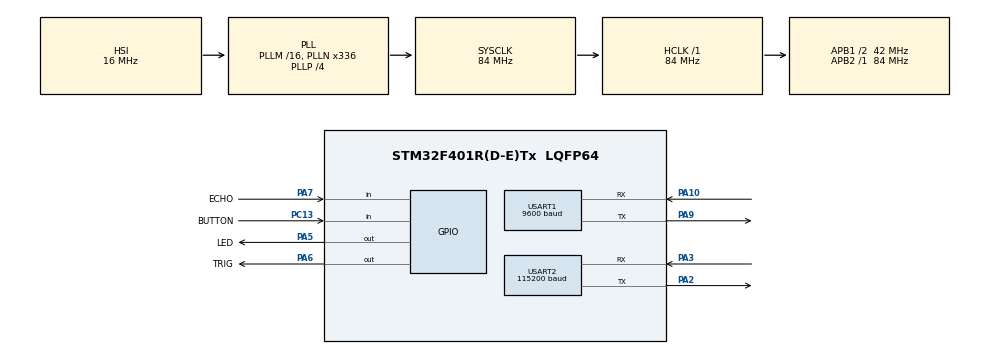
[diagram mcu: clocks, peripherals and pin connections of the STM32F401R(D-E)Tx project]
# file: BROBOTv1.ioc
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Dma.Request0=USART2_RX
Dma.Request1=USART1_RX
Dma.USART1_RX.1.Direction=DMA_PERIPH_TO_MEMORY
Dma.USART1_RX.1.FIFOMode=DMA_FIFOMODE_DISABLE
Dma.USART1_RX.1.Instance=DMA2_Stream2
Dma.USART1_RX.1.MemDataAlignment=DMA_MDATAALIGN_BYTE
Dma.USART1_RX.1.MemInc=DMA_MINC_ENABLE
Dma.USART1_RX.1.Mode=DMA_CIRCULAR
Dma.USART1_RX.1.PeriphDataAlignment=DMA_PDATAALIGN_BYTE
Dma.USART1_RX.1.PeriphInc=DMA_PINC_DISABLE
Dma.USART1_RX.1.Priority=DMA_PRIORITY_LOW
Dma.USART2_RX.0.Direction=DMA_PERIPH_TO_MEMORY
Dma.USART2_RX.0.FIFOMode=DMA_FIFOMODE_DISABLE
Dma.USART2_RX.0.Instance=DMA1_Stream5
Dma.USART2_RX.0.MemDataAlignment=DMA_MDATAALIGN_BYTE
Dma.USART2_RX.0.MemInc=DMA_MINC_ENABLE
Dma.USART2_RX.0.Mode=DMA_CIRCULAR
Dma.USART2_RX.0.PeriphDataAlignment=DMA_PDATAALIGN_BYTE
Dma.USART2_RX.0.PeriphInc=DMA_PINC_DISABLE
Dma.USART2_RX.0.Priority=DMA_PRIORITY_LOW
Mcu.Family=STM32F4
Mcu.Name=STM32F401R(D-E)Tx
Mcu.Package=LQFP64
NVIC.DMA1_Stream5_IRQn=true\:0\:0\:false\:false\:true\:false
NVIC.DMA2_Stream2_IRQn=true\:0\:0\:false\:false\:true\:false
NVIC.PriorityGroup=NVIC_PRIORITYGROUP_0
NVIC.TIM2_IRQn=true\:0\:0\:false\:false\:true\:true
NVIC.USART1_IRQn=true\:0\:0\:false\:false\:true\:true
NVIC.USART2_IRQn=true\:0\:0\:false\:false\:true\:true
PA10.Mode=Asynchronous
PA10.Signal=USART1_RX
PA2.Mode=Asynchronous
PA2.Signal=USART2_TX
PA3.Mode=Asynchronous
PA3.Signal=USART2_RX
PA5.GPIO_Label=LED
PA5.Signal=GPIO_Output
PA6.GPIO_Label=TRIG
PA6.Signal=GPIO_Output
PA7.GPIO_Label=ECHO
PA7.Signal=GPIO_Input
PA9.Mode=Asynchronous
PA9.Signal=USART1_TX
PC13-ANTI_TAMP.GPIO_Label=BUTTON
PC13-ANTI_TAMP.Signal=GPIO_Input
ProjectManager.HeapSize=0x200
ProjectManager.StackSize=0x400
ProjectManager.TargetToolchain=SW4STM32
RCC.AHBFreq_Value=84000000
RCC.APB1CLKDivider=RCC_HCLK_DIV2
RCC.APB1Freq_Value=42000000
RCC.APB1TimFreq_Value=84000000
RCC.APB2Freq_Value=84000000
RCC.APB2TimFreq_Value=84000000
RCC.CortexFreq_Value=84000000
RCC.HCLKFreq_Value=84000000
RCC.HSE_VALUE=8000000
RCC.HSI_VALUE=16000000
RCC.LSE_VALUE=32768
RCC.PLLN=336
RCC.PLLP=RCC_PLLP_DIV4
RCC.PLLQ=7
RCC.SYSCLKFreq_VALUE=84000000
RCC.SYSCLKSource=RCC_SYSCLKSOURCE_PLLCLK
RCC.VCOOutputFreq_Value=336000000
TIM2.Period=2000
TIM2.Prescaler=42000
TIM2.TIM_MasterOutputTrigger=TIM_TRGO_UPDATE
TIM4.Prescaler=84-1
USART1.BaudRate=9600
USART1.VirtualMode=VM_ASYNC
USART2.BaudRate=115200
USART2.VirtualMode=VM_ASYNC
VP_TIM2_VS_ClockSourceINT.Mode=Internal
VP_TIM4_VS_ClockSourceINT.Mode=Internal
board=NUCLEO-F401RE

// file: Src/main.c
/**
  ******************************************************************************
  * @file           : main.c
  * @brief          : Main program body
  ******************************************************************************
  ** This notice applies to any and all portions of this file
  * that are not between comment pairs USER CODE BEGIN and
  * USER CODE END. Other portions of this file, whether
  * inserted by the user or by software development tools
  * are owned by their respective copyright owners.
  *
  * COPYRIGHT(c) 2020 STMicroelectronics
  *
  * Redistribution and use in source and binary forms, with or without modification,
  * are permitted provided that the following conditions are met:
  *   1. Redistributions of source code must retain the above copyright notice,
  *      this list of conditions and the following disclaimer.
  *   2. Redistributions in binary form must reproduce the above copyright notice,
  *      this list of conditions and the following disclaimer in the documentation
  *      and/or other materials provided with the distribution.
  *   3. Neither the name of STMicroelectronics nor the names of its contributors
  *      may be used to endorse or promote products derived from this software
  *      without specific prior written permission.
  *
  * THIS SOFTWARE IS PROVIDED BY THE COPYRIGHT HOLDERS AND CONTRIBUTORS "AS IS"
  * AND ANY EXPRESS OR IMPLIED WARRANTIES, INCLUDING, BUT NOT LIMITED TO, THE
  * IMPLIED WARRANTIES OF MERCHANTABILITY AND FITNESS FOR A PARTICULAR PURPOSE ARE
  * DISCLAIMED. IN NO EVENT SHALL THE COPYRIGHT HOLDER OR CONTRIBUTORS BE LIABLE
  * FOR ANY DIRECT, INDIRECT, INCIDENTAL, SPECIAL, EXEMPLARY, OR CONSEQUENTIAL
  * DAMAGES (INCLUDING, BUT NOT LIMITED TO, PROCUREMENT OF SUBSTITUTE GOODS OR
  * SERVICES; LOSS OF USE, DATA, OR PROFITS; OR BUSINESS INTERRUPTION) HOWEVER
  * CAUSED AND ON ANY THEORY OF LIABILITY, WHETHER IN CONTRACT, STRICT LIABILITY,
  * OR TORT (INCLUDING NEGLIGENCE OR OTHERWISE) ARISING IN ANY WAY OUT OF THE USE
  * OF THIS SOFTWARE, EVEN IF ADVISED OF THE POSSIBILITY OF SUCH DAMAGE.
  *
  ******************************************************************************
  */
#include "main.h"
#include "stm32f4xx_hal.h"

/* USER CODE BEGIN Includes */
#include <string.h>
#include <stdio.h>
/* USER CODE END Includes */

TIM_HandleTypeDef htim2;		//Instance Timer2, used for 500us interrupt
TIM_HandleTypeDef htim4;		//Instance Timer4, used to generate uSec delay

UART_HandleTypeDef huart1;	//Instance UART1 -> communication via BLE
UART_HandleTypeDef huart2;	//Instance UART2 -> communication console
DMA_HandleTypeDef hdma_usart1_rx;	//DMA USART1 ISR reception
DMA_HandleTypeDef hdma_usart2_rx;	//DMA USART2 ISR reception

/* USER CODE BEGIN PV */
/* Private variables ---------------------------------------------------------*/

/* USER CODE END PV */

void SystemClock_Config(void);
static void MX_GPIO_Init(void);
static void MX_DMA_Init(void);
static void MX_USART2_UART_Init(void);
static void MX_USART1_UART_Init(void);
static void MX_TIM4_Init(void);
static void MX_TIM2_Init(void);

/* USER CODE BEGIN PFP */
/* Private function prototypes -----------------------------------------------*/
void usDelay(uint32_t uSec);
void UltrasonicSensorHandling();
/* USER CODE END PFP */

/* USER CODE BEGIN 0 */
uint8_t  myTxData2[13] = "Hello World\r\n";		//Transmitted Data UART2
uint8_t myRxData2[11]; 							//Received Data UART2

uint8_t  myTxData1[13] = "Hello World\r\n"; 		//Transmitted Data UART1
uint8_t myRxData1[11]; 							//Received Data UART1

const float speedOfSound = 0.0343/2;				//Speed of sound in cm/usec
float distance;									//Distane mesured by Ultrasonic sensor in cm

char uartBuf[90];								//Buffer to transmit distance value to UART
/* USER CODE END 0 */

int main(void)
{

  /* MCU Configuration----------------------------------------------------------*/

  /* Reset of all peripherals, Initializes the Flash interface and the Systick. */
  HAL_Init();

  /* Configure the system clock */
  SystemClock_Config();

  /* Initialize all configured peripherals */
  MX_GPIO_Init();
  MX_DMA_Init();
  MX_USART2_UART_Init();
  MX_USART1_UART_Init();
  MX_TIM4_Init();
  MX_TIM2_Init();
  /* USER CODE BEGIN 2 */
  //HAL_UART_Receive_DMA(&huart2, myRxData, 11);

  HAL_TIM_Base_Start_IT(&htim2); 					//Init timer 2 interrupt
  HAL_UART_Receive_DMA(&huart1, myRxData1, 11); 		//Enable RX interrupt DMA UART1
  /* USER CODE END 2 */

  /* Infinite loop */
  while (1)
  {

  }

}

void SystemClock_Config(void)
{

  RCC_OscInitTypeDef RCC_OscInitStruct;
  RCC_ClkInitTypeDef RCC_ClkInitStruct;

    /**Configure the main internal regulator output voltage
    */
  __HAL_RCC_PWR_CLK_ENABLE();

  __HAL_PWR_VOLTAGESCALING_CONFIG(PWR_REGULATOR_VOLTAGE_SCALE2);

    /**Initializes the CPU, AHB and APB busses clocks
    */
  RCC_OscInitStruct.OscillatorType = RCC_OSCILLATORTYPE_HSI;
  RCC_OscInitStruct.HSIState = RCC_HSI_ON;
  RCC_OscInitStruct.HSICalibrationValue = 16;
  RCC_OscInitStruct.PLL.PLLState = RCC_PLL_ON;
  RCC_OscInitStruct.PLL.PLLSource = RCC_PLLSOURCE_HSI;
  RCC_OscInitStruct.PLL.PLLM = 16;
  RCC_OscInitStruct.PLL.PLLN = 336;
  RCC_OscInitStruct.PLL.PLLP = RCC_PLLP_DIV4;
  RCC_OscInitStruct.PLL.PLLQ = 7;
  if (HAL_RCC_OscConfig(&RCC_OscInitStruct) != HAL_OK)
  {
    _Error_Handler(__FILE__, __LINE__);
  }

    /**Initializes the CPU, AHB and APB busses clocks
    */
  RCC_ClkInitStruct.ClockType = RCC_CLOCKTYPE_HCLK|RCC_CLOCKTYPE_SYSCLK
                              |RCC_CLOCKTYPE_PCLK1|RCC_CLOCKTYPE_PCLK2;
  RCC_ClkInitStruct.SYSCLKSource = RCC_SYSCLKSOURCE_PLLCLK;
  RCC_ClkInitStruct.AHBCLKDivider = RCC_SYSCLK_DIV1;
  RCC_ClkInitStruct.APB1CLKDivider = RCC_HCLK_DIV2;
  RCC_ClkInitStruct.APB2CLKDivider = RCC_HCLK_DIV1;

  if (HAL_RCC_ClockConfig(&RCC_ClkInitStruct, FLASH_LATENCY_2) != HAL_OK)
  {
    _Error_Handler(__FILE__, __LINE__);
  }

    /**Configure the Systick interrupt time
    */
  HAL_SYSTICK_Config(HAL_RCC_GetHCLKFreq()/1000);

    /**Configure the Systick
    */
  HAL_SYSTICK_CLKSourceConfig(SYSTICK_CLKSOURCE_HCLK);

  /* SysTick_IRQn interrupt configuration */
  HAL_NVIC_SetPriority(SysTick_IRQn, 0, 0);
}

/* TIM2 init function */
static void MX_TIM2_Init(void)
{

  TIM_ClockConfigTypeDef sClockSourceConfig;
  TIM_MasterConfigTypeDef sMasterConfig;

  htim2.Instance = TIM2;
  htim2.Init.Prescaler = 42000;
  htim2.Init.CounterMode = TIM_COUNTERMODE_UP;
  htim2.Init.Period = 1000;
  htim2.Init.ClockDivision = TIM_CLOCKDIVISION_DIV1;
  if (HAL_TIM_Base_Init(&htim2) != HAL_OK)
  {
    _Error_Handler(__FILE__, __LINE__);
  }

  sClockSourceConfig.ClockSource = TIM_CLOCKSOURCE_INTERNAL;
  if (HAL_TIM_ConfigClockSource(&htim2, &sClockSourceConfig) != HAL_OK)
  {
    _Error_Handler(__FILE__, __LINE__);
  }

  sMasterConfig.MasterOutputTrigger = TIM_TRGO_UPDATE;
  sMasterConfig.MasterSlaveMode = TIM_MASTERSLAVEMODE_DISABLE;
  if (HAL_TIMEx_MasterConfigSynchronization(&htim2, &sMasterConfig) != HAL_OK)
  {
    _Error_Handler(__FILE__, __LINE__);
  }

}

/* TIM4 init function */
static void MX_TIM4_Init(void)
{

  TIM_ClockConfigTypeDef sClockSourceConfig;
  TIM_MasterConfigTypeDef sMasterConfig;

  htim4.Instance = TIM4;
  htim4.Init.Prescaler = 84-1;
  htim4.Init.CounterMode = TIM_COUNTERMODE_UP;
  htim4.Init.Period = 0;
  htim4.Init.ClockDivision = TIM_CLOCKDIVISION_DIV1;
  if (HAL_TIM_Base_Init(&htim4) != HAL_OK)
  {
    _Error_Handler(__FILE__, __LINE__);
  }

  sClockSourceConfig.ClockSource = TIM_CLOCKSOURCE_INTERNAL;
  if (HAL_TIM_ConfigClockSource(&htim4, &sClockSourceConfig) != HAL_OK)
  {
    _Error_Handler(__FILE__, __LINE__);
  }

  sMasterConfig.MasterOutputTrigger = TIM_TRGO_RESET;
  sMasterConfig.MasterSlaveMode = TIM_MASTERSLAVEMODE_DISABLE;
  if (HAL_TIMEx_MasterConfigSynchronization(&htim4, &sMasterConfig) != HAL_OK)
  {
    _Error_Handler(__FILE__, __LINE__);
  }

}

/* USART1 init function */
static void MX_USART1_UART_Init(void)
{

  huart1.Instance = USART1;
  huart1.Init.BaudRate = 9600;
  huart1.Init.WordLength = UART_WORDLENGTH_8B;
  huart1.Init.StopBits = UART_STOPBITS_1;
  huart1.Init.Parity = UART_PARITY_NONE;
  huart1.Init.Mode = UART_MODE_TX_RX;
  huart1.Init.HwFlowCtl = UART_HWCONTROL_NONE;
  huart1.Init.OverSampling = UART_OVERSAMPLING_16;
  if (HAL_UART_Init(&huart1) != HAL_OK)
  {
    _Error_Handler(__FILE__, __LINE__);
  }

}

/* USART2 init function */
static void MX_USART2_UART_Init(void)
{

  huart2.Instance = USART2;
  huart2.Init.BaudRate = 115200;
  huart2.Init.WordLength = UART_WORDLENGTH_8B;
  huart2.Init.StopBits = UART_STOPBITS_1;
  huart2.Init.Parity = UART_PARITY_NONE;
  huart2.Init.Mode = UART_MODE_TX_RX;
  huart2.Init.HwFlowCtl = UART_HWCONTROL_NONE;
  huart2.Init.OverSampling = UART_OVERSAMPLING_16;
  if (HAL_UART_Init(&huart2) != HAL_OK)
  {
    _Error_Handler(__FILE__, __LINE__);
  }

}

static void MX_DMA_Init(void)
{
  /* DMA controller clock enable */
  __HAL_RCC_DMA1_CLK_ENABLE();
  __HAL_RCC_DMA2_CLK_ENABLE();

  /* DMA interrupt init */
  /* DMA1_Stream5_IRQn interrupt configuration */
  HAL_NVIC_SetPriority(DMA1_Stream5_IRQn, 0, 0);
  HAL_NVIC_EnableIRQ(DMA1_Stream5_IRQn);
  /* DMA2_Stream2_IRQn interrupt configuration */
  HAL_NVIC_SetPriority(DMA2_Stream2_IRQn, 0, 0);
  HAL_NVIC_EnableIRQ(DMA2_Stream2_IRQn);

}

/** Configure pins as
        * Analog
        * Input
        * Output
        * EVENT_OUT
        * EXTI
*/
static void MX_GPIO_Init(void)
{

  GPIO_InitTypeDef GPIO_InitStruct;

  /* GPIO Ports Clock Enable */
  __HAL_RCC_GPIOC_CLK_ENABLE();
  __HAL_RCC_GPIOA_CLK_ENABLE();

  /*Configure GPIO pin Output Level */
  HAL_GPIO_WritePin(GPIOA, LED_Pin|TRIG_Pin, GPIO_PIN_RESET);

  /*Configure GPIO pin : BUTTON_Pin */
  GPIO_InitStruct.Pin = BUTTON_Pin;
  GPIO_InitStruct.Mode = GPIO_MODE_INPUT;
  GPIO_InitStruct.Pull = GPIO_NOPULL;
  HAL_GPIO_Init(BUTTON_GPIO_Port, &GPIO_InitStruct);

  /*Configure GPIO pins : LED_Pin TRIG_Pin */
  GPIO_InitStruct.Pin = LED_Pin|TRIG_Pin;
  GPIO_InitStruct.Mode = GPIO_MODE_OUTPUT_PP;
  GPIO_InitStruct.Pull = GPIO_NOPULL;
  GPIO_InitStruct.Speed = GPIO_SPEED_FREQ_LOW;
  HAL_GPIO_Init(GPIOA, &GPIO_InitStruct);

  /*Configure GPIO pin : ECHO_Pin */
  GPIO_InitStruct.Pin = ECHO_Pin;
  GPIO_InitStruct.Mode = GPIO_MODE_INPUT;
  GPIO_InitStruct.Pull = GPIO_NOPULL;
  HAL_GPIO_Init(ECHO_GPIO_Port, &GPIO_InitStruct);

}

/* USER CODE BEGIN 4 */

/*
 * Bluetooth received data handling
 */
void HAL_UART_RxCpltCallback(UART_HandleTypeDef *huart)
{
  /* Prevent unused argument(s) compilation warning */
	UNUSED(huart);
	HAL_UART_Transmit(&huart2, myRxData1, 11, 10); //Transmit received data to Console

	HAL_UART_Transmit(&huart1, myRxData1, 11, 10); //Echo via Bluetooth received data
  /* NOTE: This function Should not be modified, when the callback is needed,
           the HAL_UART_TxCpltCallback could be implemented in the user file
   */
}

/*
 * Generate delay in micro seconds for Ultrasonic sensor handling
 */
void usDelay(uint32_t uSec)
{
	if(uSec < 2) uSec = 2;
		TIM4->ARR = uSec - 1; 	/*sets the value in the auto-reload register*/
		TIM4->EGR = 1; 			/*Re-initialises the timer*/
		TIM4->SR &= ~1; 		//Resets the flag
		TIM4->CR1 |= 1; 		//Enables the counter
		while((TIM4->SR&0x0001) != 1);
		TIM4->SR &= ~(0x0001);
}

/*
 * Handling of the Ultrasonic sensor
 * Measurement and calculation of the distance
 * Send data through UART
 */
void UltrasonicSensorHandling()
{
	uint32_t numTicks = 0;
	//Set TRIG to LOW for few uSec
	HAL_GPIO_WritePin(TRIG_GPIO_Port, TRIG_Pin, GPIO_PIN_RESET);
	usDelay(3);

	//*** START Ultrasonic measure routine ***//
	//1. Output 10 usec TRIG
	HAL_GPIO_WritePin(TRIG_GPIO_Port, TRIG_Pin, GPIO_PIN_SET);
	usDelay(10);
	HAL_GPIO_WritePin(TRIG_GPIO_Port, TRIG_Pin, GPIO_PIN_RESET);

	//2. Wait for ECHO pin rising edge
	while(HAL_GPIO_ReadPin(ECHO_GPIO_Port, ECHO_Pin) == GPIO_PIN_RESET);

	//3. Start measuring ECHO pulse width in usec
	numTicks = 0;
	while(HAL_GPIO_ReadPin(ECHO_GPIO_Port, ECHO_Pin) == GPIO_PIN_SET)
	{
	numTicks++;
	usDelay(2); //2.8usec
	};

	//4. Estimate distance in cm
	distance = (numTicks + 0.0f)*2.8*speedOfSound;

	//5. Print to UART terminal for debugging
	sprintf(uartBuf, "Distance (cm)  = %0.1f\r\n", distance);

	HAL_UART_Transmit(&huart1, (uint8_t *)uartBuf, strlen(uartBuf), 90);
	HAL_UART_Transmit(&huart2, (uint8_t *)uartBuf, strlen(uartBuf), 90);
}

void HAL_TIM_PeriodElapsedCallback(TIM_HandleTypeDef *htim)
{
  /* Prevent unused argument(s) compilation warning */
  UNUSED(htim);
  /* NOTE : This function Should not be modified, when the callback is needed,
            the __HAL_TIM_PeriodElapsedCallback could be implemented in the user file
   */
  UltrasonicSensorHandling();
  HAL_GPIO_TogglePin(LED_GPIO_Port, LED_Pin); //Toggle User LED
}
/* USER CODE END 4 */

void _Error_Handler(char *file, int line)
{
  while(1)
  {
  }
}

/************************ (C) COPYRIGHT STMicroelectronics *****END OF FILE****/
